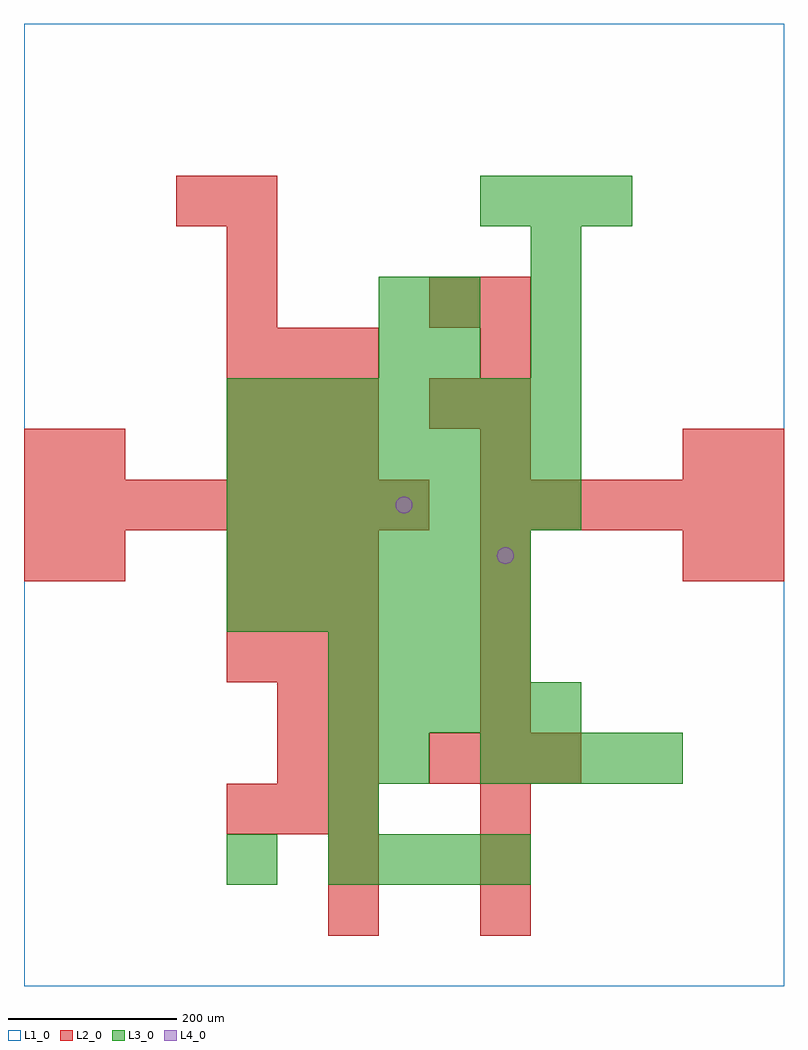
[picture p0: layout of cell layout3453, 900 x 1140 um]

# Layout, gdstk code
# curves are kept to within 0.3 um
import gdstk
lib = gdstk.Library(unit=1e-6, precision=1e-09)
def R(c, l, rs):  # rectangles x0, y0, x1, y1
    for r in rs: c.add(gdstk.rectangle(r[:2], r[2:], *l))
def A(c, l, x, y, w, h, nx, ny, dx, dy):  # array of equal rectangles
    R(c, l, [(x+i*dx, y+j*dy, x+i*dx+w, y+j*dy+h) for i in range(nx) for j in range(ny)])
def P(c, l, *ps):  # polygons
    for p in ps: c.add(gdstk.Polygon(p, *l))
L1_0 = (1, 0)
L2_0 = (2, 0)
L3_0 = (3, 0)
L4_0 = (4, 0)

layout3453 = lib.new_cell('layout3453')
R(layout3453, L1_0, [(0,0,900,1140)])
A(layout3453, L2_0, 540, 60, 60, 60, 1, 3, 0, 60)
A(layout3453, L2_0, 240, 180, 60, 60, 3, 2, 60, 180)
A(layout3453, L2_0, 480, 240, 60, 60, 3, 1, 60, 0)
A(layout3453, L2_0, 540, 300, 60, 60, 1, 4, 0, 60)
A(layout3453, L2_0, 240, 420, 60, 60, 3, 2, 60, 60)
A(layout3453, L2_0, 0, 540, 60, 60, 8, 1, 60, 0)
A(layout3453, L2_0, 540, 540, 60, 60, 6, 1, 60, 0)
A(layout3453, L2_0, 240, 600, 60, 60, 3, 3, 60, 60)
A(layout3453, L2_0, 540, 600, 60, 60, 1, 4, 0, 60)
A(layout3453, L2_0, 240, 780, 60, 60, 1, 3, 0, 60)
R(layout3453, L2_0, [(360,60,420,120), (360,120,420,180), (300,240,360,300), (360,240,420,300), (300,300,360,360), (360,300,420,360), (0,480,60,540), (60,480,120,540), (780,480,840,540), (840,480,900,540), (0,600,60,660), (60,600,120,660), (780,600,840,660), (840,600,900,660), (480,660,540,720), (480,780,540,840), (180,900,240,960)])
A(layout3453, L3_0, 360, 120, 60, 60, 4, 2, 60, 240)
A(layout3453, L3_0, 540, 240, 60, 60, 4, 1, 60, 0)
A(layout3453, L3_0, 360, 300, 60, 60, 5, 1, 60, 0)
A(layout3453, L3_0, 240, 420, 60, 60, 6, 2, 60, 60)
A(layout3453, L3_0, 240, 540, 60, 60, 7, 3, 60, 60)
A(layout3453, L3_0, 600, 720, 60, 60, 1, 3, 0, 60)
A(layout3453, L3_0, 540, 900, 60, 60, 3, 1, 60, 0)
R(layout3453, L3_0, [(240,120,300,180), (360,180,420,240), (360,240,420,300), (420,240,480,300), (420,720,480,780), (480,720,540,780), (420,780,480,840), (480,780,540,840)])
P(layout3453, L4_0, [(460,570),(459.239,573.827),(457.071,577.071),(453.827,579.239),(450,580),(446.173,579.239),(442.929,577.071),(440.761,573.827),(440,570),(440.761,566.173),(442.929,562.929),(446.173,560.761),(450,560),(453.827,560.761),(457.071,562.929),(459.239,566.173)],
  [(580,510),(579.239,513.827),(577.071,517.071),(573.827,519.239),(570,520),(566.173,519.239),(562.929,517.071),(560.761,513.827),(560,510),(560.761,506.173),(562.929,502.929),(566.173,500.761),(570,500),(573.827,500.761),(577.071,502.929),(579.239,506.173)])

lib.write_gds('layout3453.gds')
